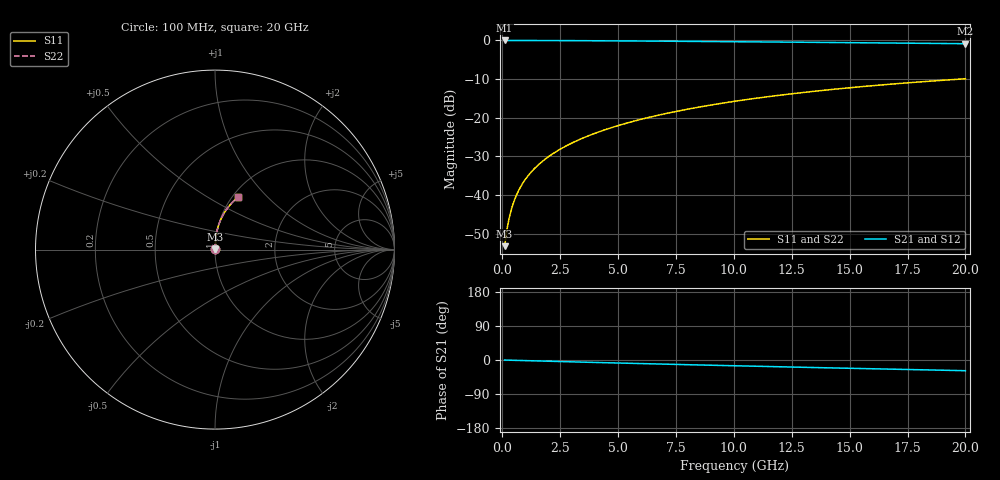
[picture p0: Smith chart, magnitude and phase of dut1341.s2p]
! Touchstone file exported from HFSS 2024.1.0
!  File:  C:/UserFiles/LocalFiles/RDL_TSV_Batchsim/temp_RDL_bottom_1341_1780369813.aedt
!  Generated:  11:13:14 AM Jun  2, 2026
!  Design:  RDL_bottom
!  Project:  temp_RDL_bottom_1341_1780369813
!  Setup:  Setup1
!  Solution:  Sweep
! Variables:
!  dtsv = 10.80580581um
!  hbump = 3um
!  htsv = 68.33um
!  ldown = 343.23um
!  lrdl = 100um
!  p = 40
!  p1 = 59.68um
!  rhole = 1um
!  t = 450um
!  tdown = 4.84um
!  trdl = 3.915915916um
!  wdown = 19.37um
!  wrdl = 20um
# GHz S MA R 50.000000
! Terminal data exported
! Port[1] = RDL1_T1
! Port[2] = RDL1_T2
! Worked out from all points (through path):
!   200 points, 100 MHz to 20 GHz, reference 50 ohm
!   highest |S21| = -0.01 dB at 100 MHz (marker M1); lowest = -0.8 dB at 20 GHz (marker M2)
!   group delay of S21, straight-line fit = 3.89 ps
!   lowest |S11| = -53.3 dB at 100 MHz (marker M3), VSWR 1.00, Z = 50.1 + j0.163 ohm
!   |S11| at or under -10 dB: start of sweep to 19.82 GHz
!   |S22| runs from -53.3 to -9.9 dB; largest |S21 - S12| = 2.7e-15
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0.1  0.002172 48.6  0.9986 -0.2  0.9986 -0.2  0.002172 48.6
! Gamma 0 0 0 0
! Port Impedance 50 0 50 0
0.2  0.00356 66.0  0.9985 -0.3  0.9985 -0.3  0.00356 66.0
0.3  0.005083 73.3  0.9984 -0.5  0.9984 -0.5  0.005083 73.3
0.4  0.00664 77.1  0.9983 -0.7  0.9983 -0.7  0.00664 77.1
0.5  0.008204 79.3  0.9982 -0.8  0.9982 -0.8  0.008204 79.3
0.7  0.01132 81.8  0.998 -1.2  0.998 -1.2  0.01132 81.9
0.8  0.01288 82.6  0.9979 -1.3  0.9979 -1.3  0.01288 82.6
1  0.01597 83.6  0.9977 -1.7  0.9977 -1.7  0.01597 83.6
1.2  0.01904 84.3  0.9974 -2.0  0.9974 -2.0  0.01904 84.3
1.4  0.02211 84.7  0.9971 -2.3  0.9971 -2.3  0.02211 84.7
1.7  0.02672 85.2  0.9966 -2.8  0.9966 -2.8  0.02672 85.2
2  0.03134 85.5  0.9959 -3.3  0.9959 -3.3  0.03134 85.5
2.7  0.0422 85.8  0.9942 -4.4  0.9942 -4.4  0.0422 85.8
3.5  0.05479 85.8  0.9917 -5.7  0.9917 -5.7  0.05479 85.8
4.2  0.06598 85.6  0.9891 -6.8  0.9891 -6.8  0.06598 85.6
5  0.07894 85.1  0.9859 -8.0  0.9859 -8.0  0.07894 85.1
6.8  0.1087 83.6  0.9779 -10.7  0.9779 -10.7  0.1087 83.6
8.4  0.1355 81.8  0.9703 -13.0  0.9703 -13.0  0.1355 81.8
10.1  0.164 79.7  0.9618 -15.3  0.9618 -15.3  0.1641 79.7
13.4  0.2185 75.2  0.9445 -19.8  0.9445 -19.8  0.2185 75.2
16.7  0.2703 70.7  0.9261 -24.1  0.9261 -24.1  0.2703 70.7
20  0.3188 66.3  0.9069 -28.2  0.9069 -28.2  0.3189 66.3
